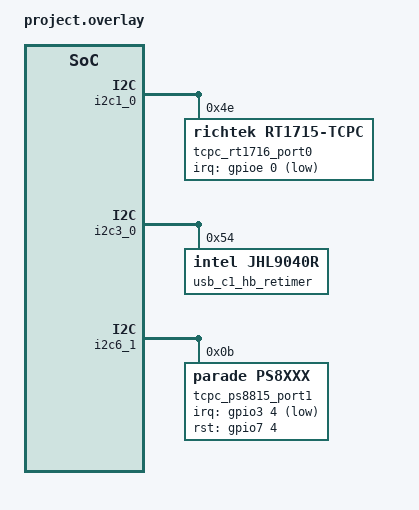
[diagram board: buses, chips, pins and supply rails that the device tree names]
/* Copyright 2022 The ChromiumOS Authors
 * Use of this source code is governed by a BSD-style license that can be
 * found in the LICENSE file.
 */

/* Rex program common DTSI includes */
#include "../fan.dtsi"
#include "../generated.dtsi"
#include "../interrupts.dtsi"
#include "../keyboard.dtsi"
#include "../motionsense.dtsi"
#include "../power_signals.dtsi"
#include "../rex.dtsi"
#include "../temp_sensors.dtsi"
#include "../usbc.dtsi"

/* Karis project DTS includes */
#include "battery.dtsi"
#include "cbi.dtsi"
#include "led_pins.dtsi"
#include "led_policy.dtsi"

/ {
	named-gpios {
		/delete-node/ ec_spare_gpio42;
		/delete-node/ ec_spare_gpioc7;
		/delete-node/ usb_c1_rst_odl;
		/delete-node/ usb_c0_rt_rst_ls_l;

		gpio_usb_c0_frs_en: usb_c0_frs_en {
			gpios = <&gpio4 2 GPIO_OUTPUT_LOW>;
		};
		gpio_usb_c0_rt_rst_odl: usb_c0_rt_rst_odl {
			gpios = <&gpio3 7 GPIO_OUTPUT>;
		};
		/*
		 * Karis move usb_c1_rst_odl form GPIO37 to GPIOC7
		 * and rename to usb_c1_rt_3p3_sx_en
		 */
		gpio_usb_c1_rst_odl: usb_c1_rt_3p3_sx_en {
			gpios = <&gpioc 7 GPIO_ODR_LOW>;
		};
	};
};

&i2c1_0 {
	tcpc_rt1716_port0: rt1716@4e {
		compatible = "richtek,rt1715-tcpc";
		reg = <0x4e>;
		tcpc-flags = <(TCPC_FLAGS_TCPCI_REV2_0 |
			TCPC_FLAGS_TCPCI_REV2_0_NO_VSAFE0V)>;
		/* a duplicate of the <&gpio_usb_c0_tcpc_int_odl> node in
		 * "named-gpios". This is the Zephyr preferred style,
		 * the "named-gpios" node will be dealt with at a later date.
		 */
		irq-gpios = <&gpioe 0 GPIO_ACTIVE_LOW>;
		is-alt;
	};
};

&ppc_port0_syv {
	frs_en_gpio = <&gpio_usb_c0_frs_en>;
};

&i2c3_0 {
	usb_c1_hb_retimer: jhl9040r-c0@54 {
		compatible = "intel,jhl9040r";
		reg = <0x54>;
		ls-en-pin = <&gpio_usb_c1_rst_odl>; /* usb_c1_rt_3p3_sx_en */
		int-pin = <&gpio_usb_c1_rt_int_odl>;
		reset-pin = <&gpio_usb_c1_rt_rst_r_odl>;
	};
};

&usb_c0_hb_retimer {
	reset-pin = <&gpio_usb_c0_rt_rst_odl>;
};

&i2c6_1 {
	/delete-node/ usb-c1-hb-retimer@56;

	tcpc_ps8815_port1: ps8xxx@b {
		compatible = "parade,ps8xxx";
		reg = <0xb>;
		tcpc-flags = <(
			TCPC_FLAGS_TCPCI_REV2_0 |
			TCPC_FLAGS_TCPCI_REV2_0_NO_VSAFE0V |
			TCPC_FLAGS_CONTROL_VCONN |
			TCPC_FLAGS_CONTROL_FRS)>;
		/* a duplicate of the <&gpio_usb_c1_tcpc_int_odl> node in
		 * "named-gpios". This is the Zephyr preferred style,
		 * the "named-gpios" node will be dealt with at a later date.
		 */
		irq-gpios = <&gpio3 4 GPIO_ACTIVE_LOW>;
		/* a duplicate of the <&gpio_usb_c1_rt_rst_r_odl> node in
		 * "named-gpios". This is the Zephyr preferred style,
		 * the "named-gpios" node will be dealt with at a later date.
		 */
		rst-gpios = <&gpio7 4 0>;
		is-alt;
	};
};
